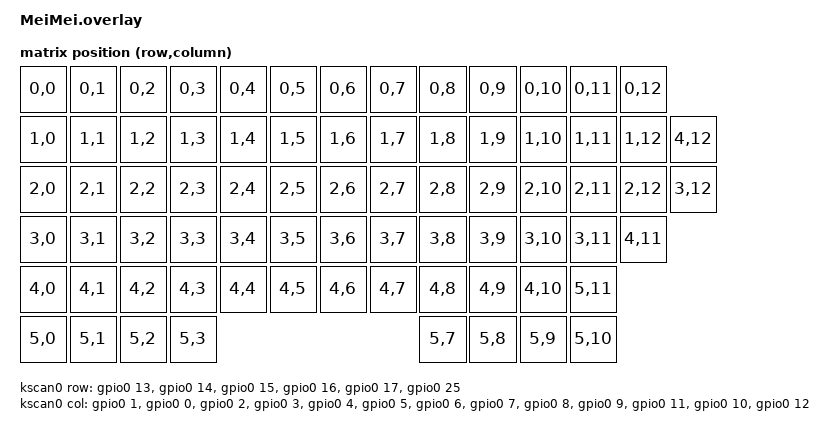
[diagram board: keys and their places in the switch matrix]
#include <dt-bindings/zmk/matrix_transform.h>
#include <dt-bindings/gpio/gpio.h>

/ {
    chosen {
        zmk,kscan = &kscan0;
        zmk,matrix_transform = &default_transform;
    };
    kscan0: kscan0 {
        compatible = "zmk,kscan-gpio-matrix";
        diode-direction = "col2row";
        wakeup-source;

        col-gpios
            = <&gpio0 1 GPIO_ACTIVE_LOW>,  // Col 1
              <&gpio0 0 GPIO_ACTIVE_LOW>,  // Col 2
              <&gpio0 2 GPIO_ACTIVE_LOW>,  // Col 3
              <&gpio0 3 GPIO_ACTIVE_LOW>,  // Col 4
              <&gpio0 4 GPIO_ACTIVE_LOW>,  // Col 5
              <&gpio0 5 GPIO_ACTIVE_LOW>,  // Col 6
              <&gpio0 6 GPIO_ACTIVE_LOW>,  // Col 7
              <&gpio0 7 GPIO_ACTIVE_LOW>,  // Col 8
              <&gpio0 8 GPIO_ACTIVE_LOW>,  // Col 9
              <&gpio0 9 GPIO_ACTIVE_LOW>,  // Col 10
              <&gpio0 11 GPIO_ACTIVE_LOW>, // Col 11
              <&gpio0 10 GPIO_ACTIVE_LOW>, // Col 12
              <&gpio0 12 GPIO_ACTIVE_LOW>  // Col 13
            ;

        row-gpios
            = <&gpio0 13 GPIO_ACTIVE_HIGH>, // Row 1
              <&gpio0 14 GPIO_ACTIVE_HIGH>, // Row 2
              <&gpio0 15 GPIO_ACTIVE_HIGH>, // Row 3
              <&gpio0 16 GPIO_ACTIVE_HIGH>, // Row 4
              <&gpio0 17 GPIO_ACTIVE_HIGH>, // Row 5
              <&gpio0 25 GPIO_ACTIVE_HIGH> // Row 6
            ;
    };

    default_transform: keymap_transform0 {
        compatible = "zmk,matrix-transform";
        columns = <13>; // Length of the "col-gpios" array
        rows = <6>; // Length of the "row-gpios" array
        map = <
            RC(0,0) RC(0,1) RC(0,2) RC(0,3) RC(0,4) RC(0,5) RC(0,6) RC(0,7) RC(0,8) RC(0,9) RC(0,10) RC(0,11) RC(0,12)
            RC(1,0) RC(1,1) RC(1,2) RC(1,3) RC(1,4) RC(1,5) RC(1,6) RC(1,7) RC(1,8) RC(1,9) RC(1,10) RC(1,11) RC(1,12) RC(4,12)
            RC(2,0) RC(2,1) RC(2,2) RC(2,3) RC(2,4) RC(2,5) RC(2,6) RC(2,7) RC(2,8) RC(2,9) RC(2,10) RC(2,11) RC(2,12) RC(3,12)
            RC(3,0) RC(3,1) RC(3,2) RC(3,3) RC(3,4) RC(3,5) RC(3,6) RC(3,7) RC(3,8) RC(3,9) RC(3,10) RC(3,11) RC(4,11)
            RC(4,0) RC(4,1) RC(4,2) RC(4,3) RC(4,4) RC(4,5) RC(4,6) RC(4,7) RC(4,8) RC(4,9) RC(4,10) RC(5,11)
            RC(5,0) RC(5,1) RC(5,2) RC(5,3)                                 RC(5,7) RC(5,8) RC(5,9) RC(5,10)
        >;
    };
};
